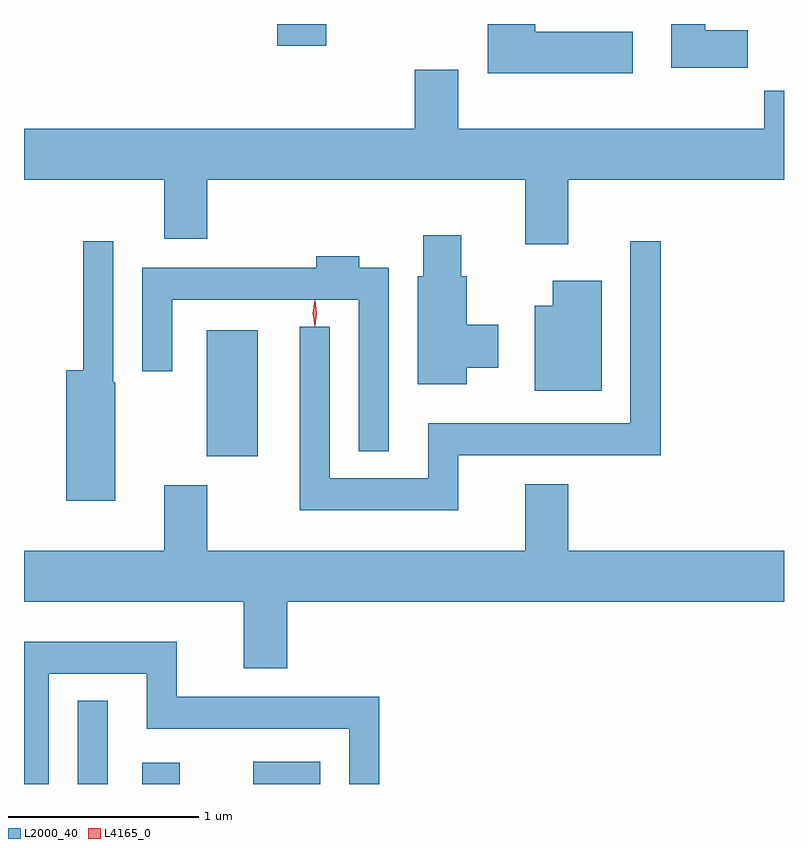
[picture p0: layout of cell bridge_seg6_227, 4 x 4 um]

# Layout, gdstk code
import gdstk
lib = gdstk.Library(unit=1e-6, precision=1e-09)
def R(c, l, rs):  # rectangles x0, y0, x1, y1
    for r in rs: c.add(gdstk.rectangle(r[:2], r[2:], *l))
def P(c, l, *ps):  # polygons
    for p in ps: c.add(gdstk.Polygon(p, *l))
L2000_40 = (2000, 40)
L4165_0 = (4165, 0)

bridge_seg6_227 = lib.new_cell('bridge_seg6_227')
R(bridge_seg6_227, L2000_40, [(1142.916,1562.396,1143.074,1562.833), (1143.256,1562.396,1143.454,1562.509), (1143.841,1562.396,1144.194,1562.514), (1143.596,1564.121,1143.864,1564.784), (1143.966,1566.281,1144.224,1566.396)])
P(bridge_seg6_227, L2000_40, [(1145.839,1566.354),(1145.324,1566.354),(1145.324,1566.396),(1145.151,1566.396),(1145.151,1566.394),(1145.076,1566.394),(1145.076,1566.136),(1145.839,1566.136)],
  [(1146.444,1566.364),(1146.219,1566.364),(1146.219,1566.396),(1146.041,1566.396),(1146.041,1566.166),(1146.444,1566.166)],
  [(1145.499,1565.576),(1146.634,1565.576),(1146.634,1566.044),(1146.531,1566.044),(1146.531,1565.844),(1144.919,1565.844),(1144.919,1566.154),(1144.691,1566.154),(1144.691,1565.844),(1142.634,1565.844),(1142.634,1565.576),(1143.371,1565.576),(1143.371,1565.266),(1143.599,1565.266),(1143.599,1565.576),(1145.271,1565.576),(1145.271,1565.236),(1145.499,1565.236)],
  [(1144.964,1564.586),(1145.129,1564.586),(1145.129,1564.814),(1144.964,1564.814),(1144.964,1565.069),(1144.934,1565.069),(1144.934,1565.284),(1144.736,1565.284),(1144.736,1565.069),(1144.706,1565.069),(1144.706,1564.501),(1144.964,1564.501)],
  [(1143.114,1564.51),(1143.104,1564.51),(1143.104,1565.253),(1142.946,1565.253),(1142.946,1564.574),(1142.856,1564.574),(1142.856,1563.886),(1143.114,1563.886)],
  [(1144.919,1564.126),(1145.984,1564.126),(1145.984,1565.253),(1145.826,1565.253),(1145.826,1564.294),(1144.761,1564.294),(1144.761,1564.004),(1144.244,1564.004),(1144.244,1564.803),(1144.086,1564.803),(1144.086,1563.836),(1144.919,1563.836)],
  [(1144.554,1565.114),(1144.399,1565.114),(1144.399,1565.174),(1144.171,1565.174),(1144.171,1565.114),(1143.256,1565.114),(1143.256,1564.568),(1143.414,1564.568),(1143.414,1564.946),(1144.396,1564.946),(1144.396,1564.148),(1144.554,1564.148)],
  [(1145.674,1565.044),(1145.416,1565.044),(1145.416,1564.914),(1145.321,1564.914),(1145.321,1564.466),(1145.674,1564.466)],
  [(1144.019,1563.356),(1146.634,1563.356),(1146.634,1563.624),(1145.499,1563.624),(1145.499,1563.974),(1145.271,1563.974),(1145.271,1563.624),(1143.599,1563.624),(1143.599,1563.969),(1143.371,1563.969),(1143.371,1563.624),(1142.634,1563.624),(1142.634,1563.356),(1143.791,1563.356),(1143.791,1563.006),(1144.019,1563.006)],
  [(1142.764,1562.976),(1143.281,1562.976),(1143.281,1562.686),(1144.346,1562.686),(1144.346,1562.396),(1144.504,1562.396),(1144.504,1562.854),(1143.439,1562.854),(1143.439,1563.144),(1142.634,1563.144),(1142.634,1562.396),(1142.764,1562.396)])
P(bridge_seg6_227, L4165_0, [(1144.165,1564.803),(1144.164,1564.804),(1144.155,1564.873),(1144.164,1564.942),(1144.165,1564.943),(1144.166,1564.942),(1144.175,1564.873),(1144.166,1564.804)],
  [(1144.164,1564.807),(1144.164,1564.808),(1144.154,1564.874),(1144.164,1564.94),(1144.164,1564.94),(1144.165,1564.94),(1144.174,1564.874),(1144.165,1564.808)])

lib.write_gds('bridge_seg6_227.gds')
